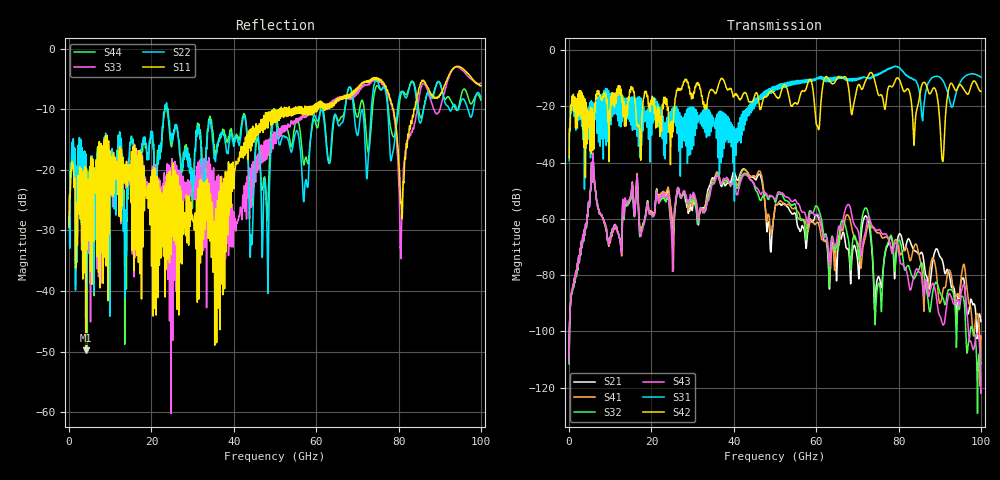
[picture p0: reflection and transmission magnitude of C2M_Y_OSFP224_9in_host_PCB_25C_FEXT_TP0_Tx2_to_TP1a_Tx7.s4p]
# GHz S RI R 45
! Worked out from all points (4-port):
!   4000 points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, 25 MHz to 100 GHz, reference 45 ohm
!   strongest paths, dB at 25 MHz, 25.02 GHz, 50.02 GHz, 75.03 GHz, 100 GHz:
!     S42: -38.2, -30.2, -15.9, -15.6, -14.6
!     S31: -39.3, -21.2, -12.9, -8.9, -9.6
!     S43: -110.8, -70.2, -53.1, -64.0, -121.0
!     S32: -111.7, -65.1, -53.9, -83.5, -111.3
!     S41: -110.5, -60.5, -56.0, -65.0, -101.7
!     S21: -111.1, -59.9, -55.6, -80.8, -96.5
!   lowest |S11| = -49.8 dB at 4.05 GHz (marker M1), VSWR 1.01, Z = 44.7 - j0.0798 ohm
!   |S11| at or under -10 dB: start of sweep to 51.11 GHz; 53.83 GHz to 54.17 GHz (347.9 MHz wide, 0.644 % of centre); 78.78 GHz to 83.76 GHz (4.979 GHz wide, 6.13 % of centre) (the widest 3 of 29)
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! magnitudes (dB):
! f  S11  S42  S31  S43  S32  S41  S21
! 25 MHz  -29.4  -38.2  -39.3  -110.8  -111.7  -110.5  -111.1
! 4.05 GHz  -49.8  -21.9  -27.7  -61.7  -62.0  -61.6  -61.9
! 42.52 GHz  -15.7  -15.3  -22.1  -44.4  -43.9  -42.5  -42.3
! 80.58 GHz  -25.4  -11.8  -6.9  -76.0  -69.1  -72.8  -65.7
! 86.25 GHz  -5.5  -11.5  -18.7  -85.1  -80.2  -89.7  -76.4
! 90.67 GHz  -6.9  -39.5  -10.6  -97.3  -87.8  -86.4  -75.0
! 100 GHz  -6.1  -14.6  -9.6  -121.0  -111.3  -101.7  -96.5
